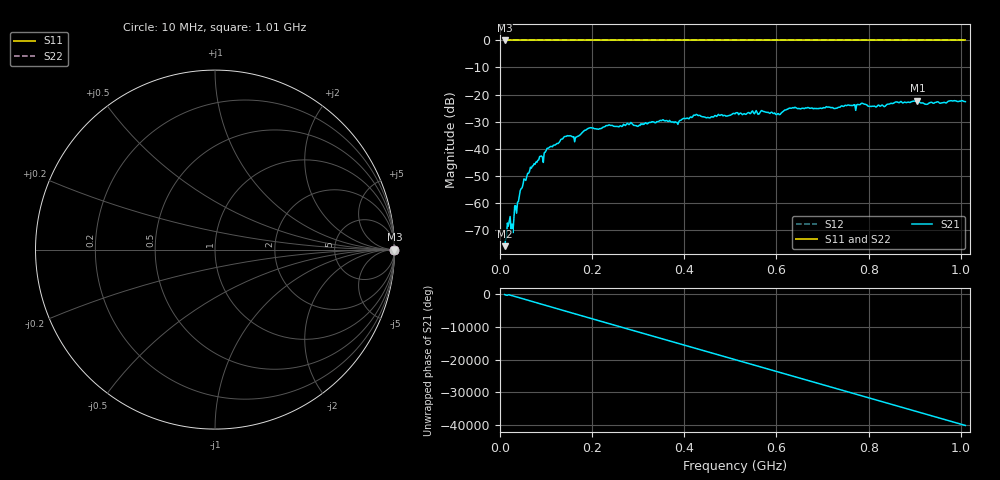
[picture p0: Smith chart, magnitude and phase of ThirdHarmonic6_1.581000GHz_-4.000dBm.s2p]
! 8/16/2025 6:48:50 PM
! C:\ANRITSUVNA\TEMP\TEMP.S2P
! CHANNEL.1
! TR.MEASUREMENT
! RAW.DATA
! RF.CORRECTION.OFF
! AVERAGING.OFF
! IF.BANDWIDTH: 5KHZ
! SWEEPTYPE:  FREQ.SWEEP(Linear)
! Reference Plane Port Info
! PORT:  PORT1  PORT2
! DISTANCE:  0  m  0  m
! TIME:  0  s  0  s
! PHASE.OFFSET:  0  deg.  0  deg.
! LOSS:  0  dB  0  dB
! REF.LOSS:  0  dB  0  dB
! REF.FREQ:  0  Hz  0  Hz
! Power Info
! POWER:  -20  dBm  -20  dBm
! EFF.POWER:  -20  dBm  -20  dBm
! SOURCE.ATTEN:  0  dB  0  dB
! TEST.ATTEN:  0  dB  0  dB
# GHZ S RI R 50.0
! FREQ.GHZ  S11RE  S11IM  S21RE  S21IM  S12RE  S12IM  S22RE  S22IM
!; PortSelection: Port_12
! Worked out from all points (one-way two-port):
!   501 points, 10 MHz to 1.01 GHz, reference 50 ohm
!   highest |S21| = -22.22 dB at 906 MHz (marker M1); lowest = -76.1 dB at 10 MHz (marker M2)
!   lowest |S11| = 0.0 dB at 10 MHz (marker M3)
!   |S11| at or under -10 dB: nowhere
!   |S22| runs from 0.0 to 0.0 dB; largest |S21 - S12| = 1.1
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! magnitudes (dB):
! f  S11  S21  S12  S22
! 10 MHz  0.0  -76.1  0.0  0.0
! 18 MHz  0.0  -68.7  0.0  0.0
! 28 MHz  0.0  -71.1  0.0  0.0
! 48 MHz  0.0  -54.5  0.0  0.0
! 70 MHz  0.0  -46.5  0.0  0.0
! 104 MHz  0.0  -39.9  0.0  0.0
! 136 MHz  0.0  -36.4  0.0  0.0
! 166 MHz  0.0  -35.7  0.0  0.0
! 178 MHz  0.0  -34.2  0.0  0.0
! 196 MHz  0.0  -32.3  0.0  0.0
! 344 MHz  0.0  -30.0  0.0  0.0
! 382 MHz  0.0  -30.3  0.0  0.0
! 424 MHz  0.0  -27.6  0.0  0.0
! 452 MHz  0.0  -28.5  0.0  0.0
! 510 MHz  0.0  -27.1  0.0  0.0
! 604 MHz  0.0  -27.1  0.0  0.0
! 632 MHz  0.0  -25.1  0.0  0.0
! 678 MHz  0.0  -25.0  0.0  0.0
! 844 MHz  0.0  -23.6  0.0  0.0
! 906 MHz  0.0  -22.2  0.0  0.0
! 924 MHz  0.0  -23.6  0.0  0.0
! 1.01 GHz  0.0  -22.6  0.0  0.0
